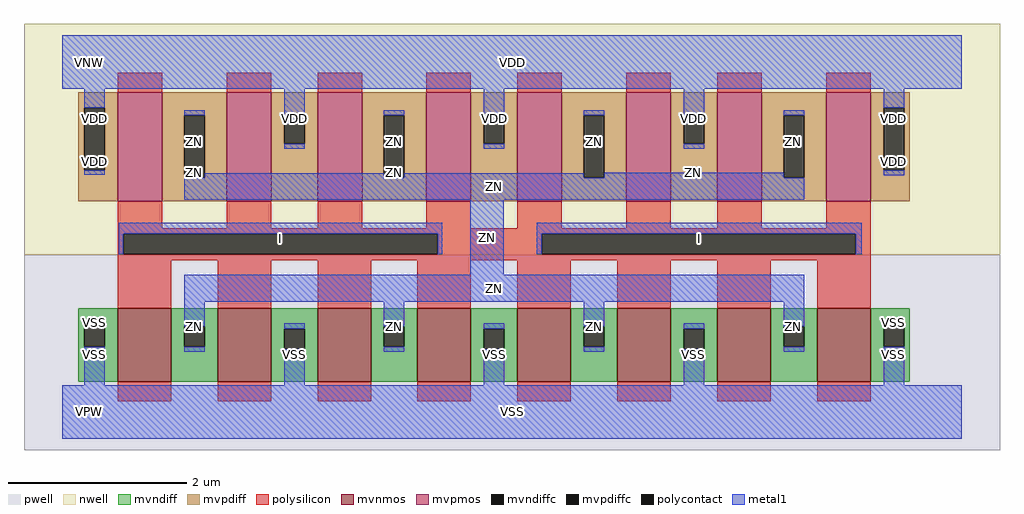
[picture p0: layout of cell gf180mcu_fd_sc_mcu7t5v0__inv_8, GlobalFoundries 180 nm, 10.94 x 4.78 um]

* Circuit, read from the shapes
.subckt gf180mcu_fd_sc_mcu7t5v0__inv_8 I ZN VDD VNW VPW VSS
XM1 ZN I VSS VPW nfet_06v0 w=0.82u l=0.6u m=8
XM2 ZN I VDD VNW pfet_06v0 w=1.22u l=0.5u m=8
.ends

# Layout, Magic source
magic
tech gf180mcuD
magscale 1 10
<< nwell >>
rect -86 352 2102 870
<< pwell >>
rect -86 -86 2102 352
<< mvnmos >>
rect 124 68 244 232
rect 348 68 468 232
rect 572 68 692 232
rect 796 68 916 232
rect 1020 68 1140 232
rect 1244 68 1364 232
rect 1468 68 1588 232
rect 1692 68 1812 232
<< mvpmos >>
rect 124 472 224 716
rect 368 472 468 716
rect 572 472 672 716
rect 816 472 916 716
rect 1020 472 1120 716
rect 1264 472 1364 716
rect 1468 472 1568 716
rect 1712 472 1812 716
<< mvndiff >>
rect 36 192 124 232
rect 36 146 49 192
rect 95 146 124 192
rect 36 68 124 146
rect 244 192 348 232
rect 244 146 273 192
rect 319 146 348 192
rect 244 68 348 146
rect 468 186 572 232
rect 468 140 497 186
rect 543 140 572 186
rect 468 68 572 140
rect 692 192 796 232
rect 692 146 721 192
rect 767 146 796 192
rect 692 68 796 146
rect 916 186 1020 232
rect 916 140 945 186
rect 991 140 1020 186
rect 916 68 1020 140
rect 1140 192 1244 232
rect 1140 146 1169 192
rect 1215 146 1244 192
rect 1140 68 1244 146
rect 1364 186 1468 232
rect 1364 140 1393 186
rect 1439 140 1468 186
rect 1364 68 1468 140
rect 1588 192 1692 232
rect 1588 146 1617 192
rect 1663 146 1692 192
rect 1588 68 1692 146
rect 1812 192 1900 232
rect 1812 146 1841 192
rect 1887 146 1900 192
rect 1812 68 1900 146
<< mvpdiff >>
rect 36 682 124 716
rect 36 542 49 682
rect 95 542 124 682
rect 36 472 124 542
rect 224 665 368 716
rect 224 525 273 665
rect 319 525 368 665
rect 224 472 368 525
rect 468 647 572 716
rect 468 601 497 647
rect 543 601 572 647
rect 468 472 572 601
rect 672 665 816 716
rect 672 525 721 665
rect 767 525 816 665
rect 672 472 816 525
rect 916 647 1020 716
rect 916 601 945 647
rect 991 601 1020 647
rect 916 472 1020 601
rect 1120 665 1264 716
rect 1120 525 1169 665
rect 1215 525 1264 665
rect 1120 472 1264 525
rect 1364 647 1468 716
rect 1364 601 1393 647
rect 1439 601 1468 647
rect 1364 472 1468 601
rect 1568 665 1712 716
rect 1568 525 1617 665
rect 1663 525 1712 665
rect 1568 472 1712 525
rect 1812 682 1900 716
rect 1812 542 1841 682
rect 1887 542 1900 682
rect 1812 472 1900 542
<< mvndiffc >>
rect 49 146 95 192
rect 273 146 319 192
rect 497 140 543 186
rect 721 146 767 192
rect 945 140 991 186
rect 1169 146 1215 192
rect 1393 140 1439 186
rect 1617 146 1663 192
rect 1841 146 1887 192
<< mvpdiffc >>
rect 49 542 95 682
rect 273 525 319 665
rect 497 601 543 647
rect 721 525 767 665
rect 945 601 991 647
rect 1169 525 1215 665
rect 1393 601 1439 647
rect 1617 525 1663 665
rect 1841 542 1887 682
<< polysilicon >>
rect 124 716 224 760
rect 368 716 468 760
rect 572 716 672 760
rect 816 716 916 760
rect 1020 716 1120 760
rect 1264 716 1364 760
rect 1468 716 1568 760
rect 1712 716 1812 760
rect 124 412 224 472
rect 368 412 468 472
rect 572 412 672 472
rect 816 412 916 472
rect 1020 412 1120 472
rect 1264 412 1364 472
rect 1468 412 1568 472
rect 1712 412 1812 472
rect 124 399 1812 412
rect 124 353 137 399
rect 841 353 1075 399
rect 1779 353 1812 399
rect 124 340 1812 353
rect 124 232 244 340
rect 348 232 468 340
rect 572 232 692 340
rect 796 232 916 340
rect 1020 232 1140 340
rect 1244 232 1364 340
rect 1468 232 1588 340
rect 1692 232 1812 340
rect 124 24 244 68
rect 348 24 468 68
rect 572 24 692 68
rect 796 24 916 68
rect 1020 24 1140 68
rect 1244 24 1364 68
rect 1468 24 1588 68
rect 1692 24 1812 68
<< polycontact >>
rect 137 353 841 399
rect 1075 353 1779 399
<< metal1 >>
rect 0 724 2016 844
rect 49 682 95 724
rect 49 531 95 542
rect 273 665 319 676
rect 497 647 543 724
rect 497 590 543 601
rect 721 665 767 676
rect 319 525 721 535
rect 945 647 991 724
rect 945 590 991 601
rect 1169 665 1215 676
rect 767 525 1169 535
rect 1393 647 1439 724
rect 1841 682 1887 724
rect 1393 590 1439 601
rect 1617 665 1663 676
rect 1215 525 1617 536
rect 1841 530 1887 542
rect 273 475 1663 525
rect 126 399 852 424
rect 126 353 137 399
rect 841 353 852 399
rect 914 307 990 475
rect 1064 399 1792 424
rect 1064 353 1075 399
rect 1779 353 1792 399
rect 273 247 1663 307
rect 49 192 95 203
rect 49 60 95 146
rect 273 192 319 247
rect 273 135 319 146
rect 497 186 543 199
rect 497 60 543 140
rect 721 192 767 247
rect 721 135 767 146
rect 945 186 991 199
rect 945 60 991 140
rect 1169 192 1215 247
rect 1169 135 1215 146
rect 1393 186 1439 199
rect 1393 60 1439 140
rect 1617 192 1663 247
rect 1617 135 1663 146
rect 1841 192 1887 203
rect 1841 60 1887 146
rect 0 -60 2016 60
<< labels >>
flabel metal1 s 1841 199 1887 203 0 FreeSans 400 0 0 0 VSS
port 6 nsew ground bidirectional abutment
flabel metal1 s 1617 536 1663 676 0 FreeSans 400 0 0 0 ZN
port 2 nsew default output
flabel metal1 s 126 353 852 424 0 FreeSans 400 0 0 0 I
port 1 nsew default input
flabel metal1 s 0 724 2016 844 0 FreeSans 400 0 0 0 VDD
port 3 nsew power bidirectional abutment
flabel nwell s 10 734 110 834 0 FreeSans 400 0 0 0 VNW
port 4 nsew power bidirectional
flabel pwell s 10 -50 110 50 0 FreeSans 400 0 0 0 VPW
port 5 nsew ground bidirectional
rlabel metal1 s 1064 353 1792 424 1 I
port 1 nsew default input
rlabel metal1 s 1169 536 1215 676 1 ZN
port 2 nsew default output
rlabel metal1 s 721 536 767 676 1 ZN
port 2 nsew default output
rlabel metal1 s 273 536 319 676 1 ZN
port 2 nsew default output
rlabel metal1 s 1169 535 1663 536 1 ZN
port 2 nsew default output
rlabel metal1 s 721 535 767 536 1 ZN
port 2 nsew default output
rlabel metal1 s 273 535 319 536 1 ZN
port 2 nsew default output
rlabel metal1 s 273 475 1663 535 1 ZN
port 2 nsew default output
rlabel metal1 s 914 307 990 475 1 ZN
port 2 nsew default output
rlabel metal1 s 273 247 1663 307 1 ZN
port 2 nsew default output
rlabel metal1 s 1617 135 1663 247 1 ZN
port 2 nsew default output
rlabel metal1 s 1169 135 1215 247 1 ZN
port 2 nsew default output
rlabel metal1 s 721 135 767 247 1 ZN
port 2 nsew default output
rlabel metal1 s 273 135 319 247 1 ZN
port 2 nsew default output
rlabel metal1 s 1841 590 1887 724 1 VDD
port 3 nsew power bidirectional abutment
rlabel metal1 s 1393 590 1439 724 1 VDD
port 3 nsew power bidirectional abutment
rlabel metal1 s 945 590 991 724 1 VDD
port 3 nsew power bidirectional abutment
rlabel metal1 s 497 590 543 724 1 VDD
port 3 nsew power bidirectional abutment
rlabel metal1 s 49 590 95 724 1 VDD
port 3 nsew power bidirectional abutment
rlabel metal1 s 1841 531 1887 590 1 VDD
port 3 nsew power bidirectional abutment
rlabel metal1 s 49 531 95 590 1 VDD
port 3 nsew power bidirectional abutment
rlabel metal1 s 1841 530 1887 531 1 VDD
port 3 nsew power bidirectional abutment
rlabel metal1 s 49 199 95 203 1 VSS
port 6 nsew ground bidirectional abutment
rlabel metal1 s 1841 60 1887 199 1 VSS
port 6 nsew ground bidirectional abutment
rlabel metal1 s 1393 60 1439 199 1 VSS
port 6 nsew ground bidirectional abutment
rlabel metal1 s 945 60 991 199 1 VSS
port 6 nsew ground bidirectional abutment
rlabel metal1 s 497 60 543 199 1 VSS
port 6 nsew ground bidirectional abutment
rlabel metal1 s 49 60 95 199 1 VSS
port 6 nsew ground bidirectional abutment
rlabel metal1 s 0 -60 2016 60 1 VSS
port 6 nsew ground bidirectional abutment
<< properties >>
string FIXED_BBOX 0 0 2016 784
string GDS_END 490852
string GDS_FILE $PDKPATH/libs.ref/gf180mcu_fd_sc_mcu7t5v0/gds/gf180mcu_fd_sc_mcu7t5v0.gds
string GDS_START 485600
string LEFclass core
string LEFsite GF018hv5v_mcu_sc7
string LEFsymmetry X Y
<< end >>
